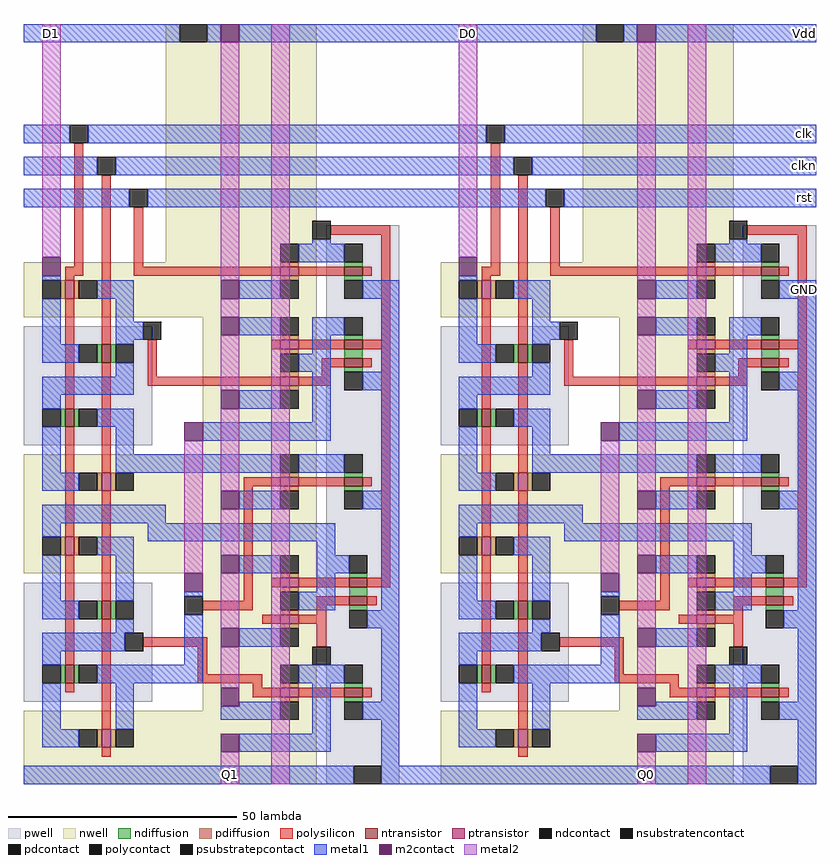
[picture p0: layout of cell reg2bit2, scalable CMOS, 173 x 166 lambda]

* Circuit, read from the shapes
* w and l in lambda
.subckt reg2bit2 D0 D1 GND Q0 Q1 Vdd clk clkn rst
M1 n1 clk n2 GND nfet w=4 l=2
M2 n3 clk n4 GND nfet w=4 l=2
M3 n2 clkn n5 GND nfet w=4 l=2
M4 n4 clkn D1 GND nfet w=4 l=2
M5 Q1 n2 GND GND nfet w=4 l=2
M6 n3 n1 GND GND nfet w=4 l=2
M7 n6 n4 GND GND nfet w=4 l=2
M8 n1 n7 n6 GND nfet w=4 l=2
M9 n7 rst GND GND nfet w=4 l=2
M10 n8 Q1 GND GND nfet w=4 l=2
M11 n5 n7 n8 GND nfet w=4 l=2
M12 n9 clk n10 GND nfet w=4 l=2
M13 n11 clk n12 GND nfet w=4 l=2
M14 n10 clkn n13 GND nfet w=4 l=2
M15 n12 clkn D0 GND nfet w=4 l=2
M16 Q0 n10 GND GND nfet w=4 l=2
M17 n11 n9 GND GND nfet w=4 l=2
M18 n14 n12 GND GND nfet w=4 l=2
M19 n9 n15 n14 GND nfet w=4 l=2
M20 n15 rst GND GND nfet w=4 l=2
M21 n16 Q0 GND GND nfet w=4 l=2
M22 n13 n15 n16 GND nfet w=4 l=2
M23 n2 clk n5 Vdd pfet w=4 l=2
M24 n4 clk D1 Vdd pfet w=4 l=2
M25 n1 clkn n2 Vdd pfet w=4 l=2
M26 n3 clkn n4 Vdd pfet w=4 l=2
M27 Q1 n2 Vdd Vdd pfet w=4 l=2
M28 n5 Q1 Vdd Vdd pfet w=4 l=2
M29 Vdd n7 n5 Vdd pfet w=4 l=2
M30 n3 n1 Vdd Vdd pfet w=4 l=2
M31 n1 n4 Vdd Vdd pfet w=4 l=2
M32 Vdd n7 n1 Vdd pfet w=4 l=2
M33 n7 rst Vdd Vdd pfet w=4 l=2
M34 n10 clk n13 Vdd pfet w=4 l=2
M35 n12 clk D0 Vdd pfet w=4 l=2
M36 n9 clkn n10 Vdd pfet w=4 l=2
M37 n11 clkn n12 Vdd pfet w=4 l=2
M38 Q0 n10 Vdd Vdd pfet w=4 l=2
M39 n13 Q0 Vdd Vdd pfet w=4 l=2
M40 Vdd n15 n13 Vdd pfet w=4 l=2
M41 n11 n9 Vdd Vdd pfet w=4 l=2
M42 n9 n12 Vdd Vdd pfet w=4 l=2
M43 Vdd n15 n9 Vdd pfet w=4 l=2
M44 n15 rst Vdd Vdd pfet w=4 l=2
.ends

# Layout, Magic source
magic
tech scmos
<< metal1 >>
rect 65 4 74 8
rect 151 4 156 8
rect 65 -18 74 -14
rect 151 -18 156 -14
rect 65 -25 74 -21
rect 151 -25 156 -21
rect 65 -32 74 -28
rect 151 -32 156 -28
rect 151 -52 156 -48
rect 65 -158 74 -154
<< metal2 >>
rect -13 4 -9 8
rect 78 4 82 8
rect 26 -158 30 -154
rect 117 -158 121 -154
use reg11  reg11_0
transform 1 0 96 0 1 18
box -113 -176 -31 -10
use reg11  reg11_1
transform 1 0 187 0 1 18
box -113 -176 -31 -10
<< labels >>
rlabel metal1 151 4 156 8 6 Vdd
rlabel metal1 151 -18 156 -14 7 clk
rlabel metal1 151 -25 156 -21 7 clkn
rlabel metal1 151 -32 156 -28 7 rst
rlabel metal1 151 -52 156 -48 7 GND
rlabel metal2 117 -158 121 -154 1 Q0
rlabel metal2 26 -158 30 -154 1 Q1
rlabel metal2 -13 4 -9 8 5 D1
rlabel metal2 78 4 82 8 5 D0
<< end >>

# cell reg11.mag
magic
tech scmos
<< pwell >>
rect -113 -102 -85 -76
rect -113 -158 -85 -132
rect -47 -176 -31 -54
<< nwell >>
rect -82 -62 -49 -10
rect -113 -74 -49 -62
rect -74 -104 -49 -74
rect -113 -130 -49 -104
rect -74 -160 -49 -130
rect -113 -176 -49 -160
<< polysilicon >>
rect -102 -63 -100 -36
rect -104 -65 -100 -63
rect -104 -66 -102 -65
rect -104 -94 -102 -70
rect -96 -80 -94 -43
rect -89 -63 -87 -50
rect -46 -56 -33 -54
rect -89 -65 -57 -63
rect -53 -65 -43 -63
rect -39 -65 -37 -63
rect -35 -79 -33 -56
rect -104 -122 -102 -98
rect -96 -108 -94 -84
rect -86 -87 -84 -79
rect -59 -81 -57 -79
rect -53 -81 -43 -79
rect -39 -81 -33 -79
rect -48 -85 -43 -83
rect -39 -85 -37 -83
rect -48 -87 -46 -85
rect -86 -89 -57 -87
rect -53 -89 -46 -87
rect -65 -111 -57 -109
rect -53 -111 -43 -109
rect -39 -111 -37 -109
rect -104 -150 -102 -126
rect -96 -136 -94 -112
rect -65 -136 -63 -111
rect -35 -131 -33 -81
rect -59 -133 -57 -131
rect -53 -133 -42 -131
rect -38 -133 -33 -131
rect -74 -138 -63 -136
rect -49 -137 -42 -135
rect -38 -137 -36 -135
rect -49 -139 -47 -137
rect -104 -156 -102 -154
rect -96 -164 -94 -140
rect -61 -141 -57 -139
rect -53 -141 -47 -139
rect -87 -146 -73 -144
rect -49 -146 -47 -141
rect -75 -152 -73 -146
rect -75 -154 -61 -152
rect -63 -155 -61 -154
rect -63 -157 -57 -155
rect -53 -157 -43 -155
rect -39 -157 -37 -155
rect -96 -170 -94 -168
<< ndiffusion >>
rect -43 -63 -39 -62
rect -43 -66 -39 -65
rect -43 -79 -39 -78
rect -97 -84 -96 -80
rect -94 -84 -93 -80
rect -105 -98 -104 -94
rect -102 -98 -101 -94
rect -43 -83 -39 -81
rect -43 -86 -39 -85
rect -43 -109 -39 -108
rect -97 -140 -96 -136
rect -94 -140 -93 -136
rect -43 -112 -39 -111
rect -42 -131 -38 -130
rect -42 -135 -38 -133
rect -105 -154 -104 -150
rect -102 -154 -101 -150
rect -42 -138 -38 -137
rect -43 -155 -39 -154
rect -43 -158 -39 -157
<< pdiffusion >>
rect -105 -70 -104 -66
rect -102 -70 -101 -66
rect -57 -63 -53 -62
rect -57 -66 -53 -65
rect -57 -79 -53 -78
rect -57 -82 -53 -81
rect -57 -87 -53 -86
rect -57 -90 -53 -89
rect -97 -112 -96 -108
rect -94 -112 -93 -108
rect -57 -109 -53 -108
rect -105 -126 -104 -122
rect -102 -126 -101 -122
rect -57 -112 -53 -111
rect -57 -131 -53 -130
rect -57 -134 -53 -133
rect -57 -139 -53 -138
rect -57 -142 -53 -141
rect -57 -155 -53 -154
rect -57 -158 -53 -157
rect -97 -168 -96 -164
rect -94 -168 -93 -164
<< metal1 >>
rect -113 -14 -79 -10
rect -73 -14 -70 -10
rect -66 -14 -31 -10
rect -113 -36 -103 -32
rect -99 -36 -31 -32
rect -113 -43 -97 -39
rect -93 -43 -31 -39
rect -113 -50 -90 -46
rect -86 -50 -31 -46
rect -50 -58 -46 -57
rect -53 -62 -43 -58
rect -109 -66 -105 -65
rect -97 -70 -89 -66
rect -66 -70 -57 -66
rect -39 -70 -31 -66
rect -109 -80 -105 -70
rect -93 -75 -89 -70
rect -93 -79 -87 -75
rect -66 -78 -57 -74
rect -50 -78 -43 -74
rect -93 -80 -89 -79
rect -109 -84 -101 -80
rect -50 -82 -46 -78
rect -93 -87 -89 -84
rect -53 -86 -46 -82
rect -35 -86 -31 -70
rect -109 -91 -89 -87
rect -109 -94 -105 -91
rect -66 -94 -57 -90
rect -97 -98 -89 -94
rect -50 -97 -46 -86
rect -39 -90 -31 -86
rect -109 -108 -105 -98
rect -93 -104 -89 -98
rect -74 -101 -46 -97
rect -93 -108 -57 -104
rect -53 -108 -43 -104
rect -109 -112 -101 -108
rect -35 -112 -31 -90
rect -109 -119 -82 -115
rect -66 -116 -57 -112
rect -39 -116 -31 -112
rect -109 -122 -105 -119
rect -97 -126 -89 -122
rect -86 -123 -45 -119
rect -49 -126 -45 -123
rect -109 -136 -105 -126
rect -93 -136 -89 -126
rect -66 -130 -57 -126
rect -49 -130 -42 -126
rect -109 -140 -101 -136
rect -93 -143 -89 -140
rect -49 -134 -45 -130
rect -78 -135 -74 -134
rect -53 -138 -45 -134
rect -35 -138 -31 -116
rect -109 -147 -91 -143
rect -109 -150 -105 -147
rect -78 -150 -74 -139
rect -38 -142 -31 -138
rect -66 -146 -57 -142
rect -97 -154 -74 -150
rect -53 -154 -43 -150
rect -109 -164 -105 -154
rect -93 -164 -89 -154
rect -66 -159 -57 -158
rect -70 -162 -57 -159
rect -109 -168 -101 -164
rect -50 -165 -46 -154
rect -35 -158 -31 -142
rect -39 -162 -31 -158
rect -66 -169 -46 -165
rect -113 -176 -41 -172
rect -35 -176 -31 -162
<< metal2 >>
rect -109 -61 -105 -10
rect -70 -66 -66 -14
rect -70 -74 -66 -70
rect -70 -90 -66 -78
rect -78 -130 -74 -101
rect -70 -112 -66 -94
rect -70 -126 -66 -116
rect -70 -142 -66 -130
rect -70 -155 -66 -146
rect -70 -176 -66 -169
rect -59 -176 -55 -10
<< ntransistor >>
rect -43 -65 -39 -63
rect -96 -84 -94 -80
rect -104 -98 -102 -94
rect -43 -81 -39 -79
rect -43 -85 -39 -83
rect -43 -111 -39 -109
rect -96 -140 -94 -136
rect -42 -133 -38 -131
rect -42 -137 -38 -135
rect -104 -154 -102 -150
rect -43 -157 -39 -155
<< ptransistor >>
rect -104 -70 -102 -66
rect -57 -65 -53 -63
rect -57 -81 -53 -79
rect -57 -89 -53 -87
rect -96 -112 -94 -108
rect -57 -111 -53 -109
rect -104 -126 -102 -122
rect -57 -133 -53 -131
rect -57 -141 -53 -139
rect -57 -157 -53 -155
rect -96 -168 -94 -164
<< polycontact >>
rect -103 -36 -99 -32
rect -97 -43 -93 -39
rect -90 -50 -86 -46
rect -50 -57 -46 -53
rect -87 -79 -83 -75
rect -78 -139 -74 -135
rect -91 -147 -87 -143
rect -50 -150 -46 -146
<< ndcontact >>
rect -43 -62 -39 -58
rect -43 -70 -39 -66
rect -43 -78 -39 -74
rect -101 -84 -97 -80
rect -93 -84 -89 -80
rect -109 -98 -105 -94
rect -101 -98 -97 -94
rect -43 -90 -39 -86
rect -43 -108 -39 -104
rect -101 -140 -97 -136
rect -93 -140 -89 -136
rect -43 -116 -39 -112
rect -42 -130 -38 -126
rect -109 -154 -105 -150
rect -101 -154 -97 -150
rect -42 -142 -38 -138
rect -43 -154 -39 -150
rect -43 -162 -39 -158
<< pdcontact >>
rect -109 -70 -105 -66
rect -101 -70 -97 -66
rect -57 -62 -53 -58
rect -57 -70 -53 -66
rect -57 -78 -53 -74
rect -57 -86 -53 -82
rect -57 -94 -53 -90
rect -57 -108 -53 -104
rect -101 -112 -97 -108
rect -93 -112 -89 -108
rect -109 -126 -105 -122
rect -101 -126 -97 -122
rect -57 -116 -53 -112
rect -57 -130 -53 -126
rect -57 -138 -53 -134
rect -57 -146 -53 -142
rect -57 -154 -53 -150
rect -57 -162 -53 -158
rect -101 -168 -97 -164
rect -93 -168 -89 -164
<< m2contact >>
rect -70 -14 -66 -10
rect -109 -65 -105 -61
rect -70 -70 -66 -66
rect -70 -78 -66 -74
rect -70 -94 -66 -90
rect -78 -101 -74 -97
rect -70 -116 -66 -112
rect -70 -130 -66 -126
rect -78 -134 -74 -130
rect -70 -146 -66 -142
rect -70 -159 -66 -155
rect -70 -169 -66 -165
<< psubstratepcontact >>
rect -41 -176 -35 -172
<< nsubstratencontact >>
rect -79 -14 -73 -10
<< labels >>
rlabel metal2 -57 -174 -57 -174 1 dividendin
rlabel metal2 -68 -174 -68 -174 1 Q
rlabel metal1 -33 -174 -33 -174 1 GND
rlabel metal1 -33 -48 -33 -48 7 rst
rlabel metal1 -33 -12 -33 -12 7 Vdd
rlabel metal2 -107 -12 -107 -12 1 D
rlabel metal1 -33 -41 -33 -41 7 Cb
rlabel metal1 -33 -34 -33 -34 7 C
<< end >>
